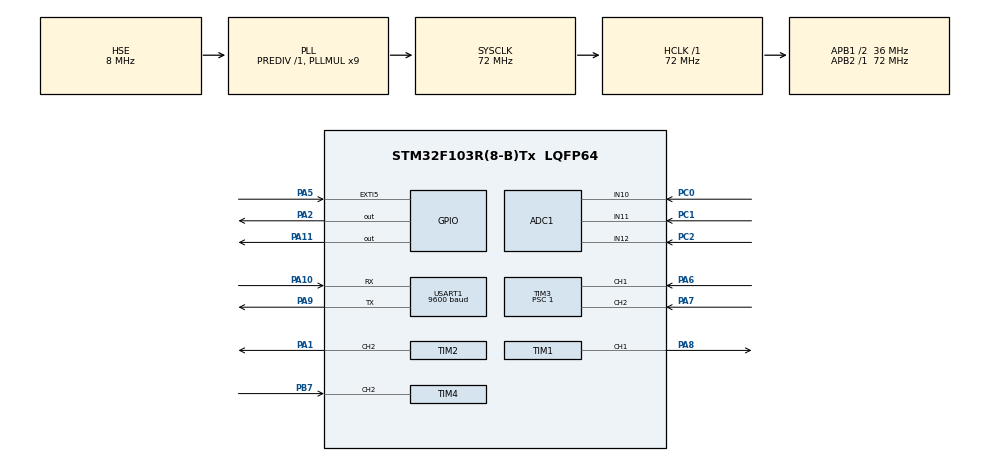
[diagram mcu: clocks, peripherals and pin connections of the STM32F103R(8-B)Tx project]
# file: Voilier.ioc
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ADC1.Channel-0\#ChannelRegularConversion=ADC_CHANNEL_10
ADC1.ContinuousConvMode=DISABLE
ADC1.NbrOfConversion=1
ADC1.NbrOfConversionFlag=1
ADC1.Rank-0\#ChannelRegularConversion=1
ADC1.SamplingTime-0\#ChannelRegularConversion=ADC_SAMPLETIME_28CYCLES_5
ADC1.master=1
Mcu.Family=STM32F1
Mcu.Name=STM32F103R(8-B)Tx
Mcu.Package=LQFP64
NVIC.EXTI9_5_IRQn=true\:0\:0\:false\:false\:true\:true
NVIC.PriorityGroup=NVIC_PRIORITYGROUP_4
NVIC.TIM2_IRQn=true\:0\:0\:false\:false\:true\:true
PA1.Signal=S_TIM2_CH2
PA10.Mode=Asynchronous
PA10.Signal=USART1_RX
PA11.Signal=GPIO_Output
PA13.Mode=JTAG_5_pins
PA13.Signal=SYS_JTMS-SWDIO
PA14.Mode=JTAG_5_pins
PA14.Signal=SYS_JTCK-SWCLK
PA15.Mode=JTAG_5_pins
PA15.Signal=SYS_JTDI
PA2.Signal=GPIO_Output
PA5.Signal=GPXTI5
PA6.GPIO_PuPd=GPIO_PULLUP
PA6.Signal=S_TIM3_CH1
PA7.GPIO_PuPd=GPIO_PULLUP
PA7.Signal=S_TIM3_CH2
PA8.Signal=S_TIM1_CH1
PA9.Mode=Asynchronous
PA9.Signal=USART1_TX
PB3.Mode=JTAG_5_pins
PB3.Signal=SYS_JTDO-TRACESWO
PB4.Mode=JTAG_5_pins
PB4.Signal=SYS_NJTRST
PB6.GPIO_PuPd=GPIO_PULLUP
PB6.Signal=S_TIM4_CH1
PB7.Signal=S_TIM4_CH2
PC0.Signal=ADCx_IN10
PC1.Signal=ADCx_IN11
PC14-OSC32_IN.Mode=LSE-External-Oscillator
PC14-OSC32_IN.Signal=RCC_OSC32_IN
PC15-OSC32_OUT.Mode=LSE-External-Oscillator
PC15-OSC32_OUT.Signal=RCC_OSC32_OUT
PC2.Signal=ADCx_IN12
PD0-OSC_IN.Mode=HSE-External-Oscillator
PD0-OSC_IN.Signal=RCC_OSC_IN
PD1-OSC_OUT.Mode=HSE-External-Oscillator
PD1-OSC_OUT.Signal=RCC_OSC_OUT
ProjectManager.HeapSize=0x200
ProjectManager.StackSize=0x400
ProjectManager.TargetToolchain=MDK-ARM V5
RCC.ADCPresc=RCC_ADCPCLK2_DIV6
RCC.AHBFreq_Value=72000000
RCC.APB1CLKDivider=RCC_HCLK_DIV2
RCC.APB1Freq_Value=36000000
RCC.APB1TimFreq_Value=72000000
RCC.APB2Freq_Value=72000000
RCC.APB2TimFreq_Value=72000000
RCC.HCLKFreq_Value=72000000
RCC.PLLMUL=RCC_PLL_MUL9
RCC.PLLSourceVirtual=RCC_PLLSOURCE_HSE
RCC.SYSCLKFreq_VALUE=72000000
RCC.SYSCLKSource=RCC_SYSCLKSOURCE_PLLCLK
RCC.USBFreq_Value=72000000
SH.ADCx_IN10.0=ADC1_IN10,IN10
SH.ADCx_IN11.0=ADC1_IN11,IN11
SH.ADCx_IN12.0=ADC1_IN12,IN12
SH.S_TIM1_CH1.0=TIM1_CH1,PWM Generation1 CH1
SH.S_TIM2_CH2.0=TIM2_CH2,PWM Generation2 CH2
SH.S_TIM3_CH1.0=TIM3_CH1,Encoder_Interface
SH.S_TIM3_CH2.0=TIM3_CH2,Encoder_Interface
SH.S_TIM4_CH1.0=TIM4_CH1
SH.S_TIM4_CH2.0=TIM4_CH2,PWM_Input_2
TIM1.Channel-PWM\ Generation1\ CH1=TIM_CHANNEL_1
TIM1.Period=57599
TIM1.Prescaler=24
TIM2.Channel-PWM\ Generation2\ CH2=TIM_CHANNEL_2
TIM2.Period=2879
TIM2.Prescaler=24
TIM3.EncoderMode=TIM_ENCODERMODE_TI1
TIM3.IC1Filter=0
TIM3.IC2Filter=0
TIM3.Period=359
TIM3.Prescaler=1
TIM3.TIM_MasterOutputTrigger=TIM_TRGO_RESET
TIM4.Period=65535
TIM4.Prescaler=1
USART1.BaudRate=9600
USART1.VirtualMode=VM_ASYNC
board=Voilier

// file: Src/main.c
/**
  ******************************************************************************
  * @file           : main.c
  * @brief          : Main program body
  ******************************************************************************
  ** This notice applies to any and all portions of this file
  * that are not between comment pairs USER CODE BEGIN and
  * USER CODE END. Other portions of this file, whether
  * inserted by the user or by software development tools
  * are owned by their respective copyright owners.
  *
  * COPYRIGHT(c) 2018 STMicroelectronics
  *
  * Redistribution and use in source and binary forms, with or without modification,
  * are permitted provided that the following conditions are met:
  *   1. Redistributions of source code must retain the above copyright notice,
  *      this list of conditions and the following disclaimer.
  *   2. Redistributions in binary form must reproduce the above copyright notice,
  *      this list of conditions and the following disclaimer in the documentation
  *      and/or other materials provided with the distribution.
  *   3. Neither the name of STMicroelectronics nor the names of its contributors
  *      may be used to endorse or promote products derived from this software
  *      without specific prior written permission.
  *
  * THIS SOFTWARE IS PROVIDED BY THE COPYRIGHT HOLDERS AND CONTRIBUTORS "AS IS"
  * AND ANY EXPRESS OR IMPLIED WARRANTIES, INCLUDING, BUT NOT LIMITED TO, THE
  * IMPLIED WARRANTIES OF MERCHANTABILITY AND FITNESS FOR A PARTICULAR PURPOSE ARE
  * DISCLAIMED. IN NO EVENT SHALL THE COPYRIGHT HOLDER OR CONTRIBUTORS BE LIABLE
  * FOR ANY DIRECT, INDIRECT, INCIDENTAL, SPECIAL, EXEMPLARY, OR CONSEQUENTIAL
  * DAMAGES (INCLUDING, BUT NOT LIMITED TO, PROCUREMENT OF SUBSTITUTE GOODS OR
  * SERVICES; LOSS OF USE, DATA, OR PROFITS; OR BUSINESS INTERRUPTION) HOWEVER
  * CAUSED AND ON ANY THEORY OF LIABILITY, WHETHER IN CONTRACT, STRICT LIABILITY,
  * OR TORT (INCLUDING NEGLIGENCE OR OTHERWISE) ARISING IN ANY WAY OUT OF THE USE
  * OF THIS SOFTWARE, EVEN IF ADVISED OF THE POSSIBILITY OF SUCH DAMAGE.
  *
  ******************************************************************************
  */
#include "main.h"
#include "stm32f1xx_hal.h"

ADC_HandleTypeDef hadc1;

TIM_HandleTypeDef htim1;
TIM_HandleTypeDef htim2;
TIM_HandleTypeDef htim3;
TIM_HandleTypeDef htim4;

UART_HandleTypeDef huart1;

/* USER CODE BEGIN PV */
/* Private variables ---------------------------------------------------------*/
ADC_HandleTypeDef hadc1;

TIM_HandleTypeDef htim1;
TIM_HandleTypeDef htim2;
TIM_HandleTypeDef htim3;
TIM_HandleTypeDef htim4;

UART_HandleTypeDef huart1;
/* USER CODE END PV */

void SystemClock_Config(void);
static void MX_GPIO_Init(void);
static void MX_ADC1_Init(void);
static void MX_TIM1_Init(void);
static void MX_TIM2_Init(void);
static void MX_TIM3_Init(void);
static void MX_TIM4_Init(void);
static void MX_USART1_UART_Init(void);

void HAL_TIM_MspPostInit(TIM_HandleTypeDef* htim);

/* USER CODE BEGIN PFP */
/* Private function prototypes -----------------------------------------------*/
void SystemClock_Config(void);
static void MX_GPIO_Init(void);
static void MX_ADC1_Init(void);
static void MX_TIM1_Init(void);
static void MX_TIM2_Init(void);
static void MX_TIM3_Init(void);
static void MX_TIM4_Init(void);
static void MX_USART1_UART_Init(void);

void HAL_TIM_MspPostInit(TIM_HandleTypeDef* htim);
/* USER CODE END PFP */

/* USER CODE BEGIN 0 */

int neutral_telecommand = 0;

// Fonction d'interruption : GPIO reçoit un front montant, il reset le timer
void HAL_GPIO_EXTI_Callback(uint16_t GPIO_Pin) {
	if(GPIO_Pin == GPIO_PIN_5) {
		htim3.Instance->CNT = 300;
	}
}

// La direction dans laquelle doit tourner le plateau
typedef enum direction_t { Neutral, Clockwise, CounterClockwise } Direction;

// L'allure du bateau par rapport au vent
typedef enum allure_t {
	BonPlein,
	Travers,
	GrandLargue,
	VentArriere,
	VentDebout,
} Allure;

// Prends en entrée :
// * une direction
// * un timer
// * un bloc gpio
// * un pin
// Cette fonction mets ensuite à jour la consigne donnée en moteur en fonction de la direction fournie.
void update_motor_command(Direction dir, TIM_HandleTypeDef pwm, GPIO_TypeDef* gpio, int pin) {
	switch(dir) {
		case Neutral: {
			pwm.Instance->CCR2 = 0;
			break;
		}
		case Clockwise: {
			pwm.Instance->CCR2 = pwm.Instance->ARR;
			HAL_GPIO_WritePin(gpio, pin, GPIO_PIN_RESET);
			break;
		}
		case CounterClockwise: {
			pwm.Instance->CCR2 = pwm.Instance->ARR;
			HAL_GPIO_WritePin(gpio, pin, GPIO_PIN_SET);
			break;
		}
	}
}

// Prends en entrée une allure et configure la position du servomoteur pour border la voile.
void update_sevo_command(Allure al, TIM_HandleTypeDef pwm) {

	int pwm_value = 0x1140;
	switch(al) {
		case VentDebout: {
			pwm_value = 0x1140;
			break;
		}
		case BonPlein: {
			pwm_value = 0x1040;
			break;
		}
		case Travers: {
			pwm_value = 0x0FF0;
			break;
		}
		case GrandLargue: {
			pwm_value = 0x0D80;
			break;
		}
		case VentArriere: {
			pwm_value = 0x0740;
			break;
		}
	}
	pwm.Instance->CCR1 = pwm_value;
}

// Prends en entrée une valeur lu par l'encodeur (entre 0 et 359) et renvoie l'allure du bateau par rapport au vent.
Allure val_encod_to_allure(int val_encod) {
	if((0 <= val_encod && val_encod < 45) || (315 <= val_encod && val_encod < 360)) {
		return VentDebout;
	} else if((45 <= val_encod && val_encod < 60) || (300 <= val_encod && val_encod < 315)) {
		return BonPlein;
	} else if((60 <= val_encod && val_encod < 120) || (240 <= val_encod && val_encod < 300)) {
		return Travers;
	} else if((120 <= val_encod && val_encod < 160) || (200 <= val_encod && val_encod < 240)) {
		return GrandLargue;
	} else {
		return VentArriere;
	}
}

// Prend en entrée un timer configuré en PWM input et revoie la consigne donnée par la télécommande en lisant la PWM.
Direction decode_remote_signal(TIM_HandleTypeDef pwm) {
	int etat = (pwm.Instance->CCR1) & 0xFFFF;
	int threshold = neutral_telecommand / 3;
	if(etat > (neutral_telecommand + threshold)) {
		return Clockwise;
	} else if(etat < (neutral_telecommand - threshold)) {
		return CounterClockwise;
	} else {
		return Neutral;
	}
}
/* USER CODE END 0 */

int main(void) {
	/* USER CODE BEGIN 1 */

	// Définition des variables
	int alarm_accu = 0;
	int alarm_rotation = 0;
	int warning_accu = 0;
	int warning_rotation = 0;
	int accu_limite = 0xccf4;
	int init_accelero0;
	int init_accelero1;
	uint8_t alert_message_accu[40] = "Attention batterie presque vide.\n\r";
	uint8_t alert_message_rotation[40] = "Attention grosses vagues.\n\r";
	/* USER CODE END 1 */

	/* MCU Configuration----------------------------------------------------------*/

	/* Reset of all peripherals, Initializes the Flash interface and the Systick. */
	HAL_Init();

	/* Configure the system clock */
	SystemClock_Config();

	/* Initialize all configured peripherals */
	MX_GPIO_Init();
	MX_ADC1_Init();
	MX_TIM1_Init();
	MX_TIM2_Init();
	MX_TIM3_Init();
	MX_TIM4_Init();
	MX_USART1_UART_Init();
	/* USER CODE BEGIN 2 */

	// Activation des périphériques
	HAL_TIM_IC_Start(&htim4, TIM_CHANNEL_2);
	HAL_TIM_Encoder_Start(&htim3, TIM_CHANNEL_ALL);
	HAL_TIM_PWM_Start(&htim1, TIM_CHANNEL_1);
	htim4.Instance->CCER |= TIM_CCER_CC1E;
	HAL_TIM_PWM_Start(&htim2, TIM_CHANNEL_2);

	// Configuration des channels de l'accel et de la batterie
	ADC_ChannelConfTypeDef ADC_channel_batterie = {ADC_CHANNEL_12, ADC_REGULAR_RANK_1, ADC_SAMPLETIME_1CYCLE_5};
	ADC_ChannelConfTypeDef ADC_channel_accelero0 = {ADC_CHANNEL_10, ADC_REGULAR_RANK_1, ADC_SAMPLETIME_28CYCLES_5};
	ADC_ChannelConfTypeDef ADC_channel_accelero1 = {ADC_CHANNEL_11, ADC_REGULAR_RANK_1, ADC_SAMPLETIME_28CYCLES_5};

	// Prise de reference pour le neutre de l'accelerometre
	HAL_ADC_ConfigChannel(&hadc1, &ADC_channel_accelero0);
	HAL_ADC_Start(&hadc1);
	HAL_ADC_PollForConversion(&hadc1, 10);
	init_accelero0 = HAL_ADC_GetValue(&hadc1);

	HAL_ADC_ConfigChannel(&hadc1, &ADC_channel_accelero1);
	HAL_ADC_Start(&hadc1);
	HAL_ADC_PollForConversion(&hadc1, 10);
	init_accelero1 = HAL_ADC_GetValue(&hadc1);

	// Sauvegarde de la valeur neutre de la télécommande, on attends un petit peu afin que le signal soit bien stable.
	while((htim4.Instance->CCR1) * (htim4.Instance->PSC + 1) < 4000) {
	}
	for(int i = 0; i < 1000000; i++) {
	}
	neutral_telecommand = (htim4.Instance->CCR1) & 0xFFFF;
	/* USER CODE END 2 */

	/* Infinite loop */
	/* USER CODE BEGIN WHILE */
	while(1) {
		// Lecture des entrées

		int batterie, accelero1, accelero0, val_encode;

		// Lecture de la batterie
		HAL_ADC_ConfigChannel(&hadc1, &ADC_channel_batterie);
		HAL_ADC_PollForConversion(&hadc1, 10);
		HAL_ADC_Start(&hadc1);
		batterie = HAL_ADC_GetValue(&hadc1);

		// Mise à jour de l'alerte de la batterie
		// warning_accu permet d'envoyer le message d'alerte qu'une seule fois
		if(batterie <= accu_limite) {
			if(warning_accu == 0) {
				warning_accu = 1;
				alarm_accu = 1;
			}
		} else {
			warning_accu = 0;
		}

		// Lecture de l'acceléromètre
		HAL_ADC_ConfigChannel(&hadc1, &ADC_channel_accelero0);
		HAL_ADC_Start(&hadc1);
		HAL_ADC_PollForConversion(&hadc1, 10);
		accelero0 = HAL_ADC_GetValue(&hadc1);

		HAL_ADC_ConfigChannel(&hadc1, &ADC_channel_accelero1);
		HAL_ADC_Start(&hadc1);
		HAL_ADC_PollForConversion(&hadc1, 10);
		accelero1 = HAL_ADC_GetValue(&hadc1);

		// Mise à jour de l'alarme de gitage.
		if(init_accelero1 - 0x90 > accelero1) {
			if(warning_rotation == 0) {
				warning_rotation = 1;
				alarm_rotation = 1;
			}
		} else {
			warning_rotation = 0;
		}

		// Bordage de la voile
		val_encode = htim3.Instance->CCR1;
		Allure al = val_encod_to_allure(val_encode);
		update_sevo_command(al, htim1);

		// Rotation du plateau
		update_motor_command(decode_remote_signal(htim4), htim2, GPIOA, GPIO_PIN_2);

		/* USER CODE END WHILE */

		/* USER CODE BEGIN 3 */
		// Code de la logique du voilier

		// Envoi du message d'alarme
		if(alarm_rotation) {
			alarm_rotation = 0;
			HAL_GPIO_WritePin(GPIOA, GPIO_PIN_11, GPIO_PIN_SET);
			HAL_UART_Transmit(&huart1, (uint8_t*)&alert_message_rotation, sizeof(alert_message_rotation), (1 << 28) - 1);
			HAL_GPIO_WritePin(GPIOA, GPIO_PIN_11, GPIO_PIN_RESET);
		}

		if(alarm_accu) {
			alarm_accu = 0;
			HAL_GPIO_WritePin(GPIOA, GPIO_PIN_11, GPIO_PIN_SET);
			HAL_UART_Transmit(&huart1, (uint8_t*)&alert_message_accu, sizeof(alert_message_accu), (1 << 28) - 1);
			HAL_GPIO_WritePin(GPIOA, GPIO_PIN_11, GPIO_PIN_RESET);
		}
	}
	/* USER CODE END 3 */
}

void SystemClock_Config(void) {

	RCC_OscInitTypeDef RCC_OscInitStruct;
	RCC_ClkInitTypeDef RCC_ClkInitStruct;
	RCC_PeriphCLKInitTypeDef PeriphClkInit;

	/**Initializes the CPU, AHB and APB busses clocks
	*/
	RCC_OscInitStruct.OscillatorType = RCC_OSCILLATORTYPE_HSE;
	RCC_OscInitStruct.HSEState = RCC_HSE_ON;
	RCC_OscInitStruct.HSEPredivValue = RCC_HSE_PREDIV_DIV1;
	RCC_OscInitStruct.HSIState = RCC_HSI_ON;
	RCC_OscInitStruct.PLL.PLLState = RCC_PLL_ON;
	RCC_OscInitStruct.PLL.PLLSource = RCC_PLLSOURCE_HSE;
	RCC_OscInitStruct.PLL.PLLMUL = RCC_PLL_MUL9;
	if(HAL_RCC_OscConfig(&RCC_OscInitStruct) != HAL_OK) {
		_Error_Handler(__FILE__, __LINE__);
	}

	/**Initializes the CPU, AHB and APB busses clocks
	*/
	RCC_ClkInitStruct.ClockType = RCC_CLOCKTYPE_HCLK | RCC_CLOCKTYPE_SYSCLK | RCC_CLOCKTYPE_PCLK1 | RCC_CLOCKTYPE_PCLK2;
	RCC_ClkInitStruct.SYSCLKSource = RCC_SYSCLKSOURCE_PLLCLK;
	RCC_ClkInitStruct.AHBCLKDivider = RCC_SYSCLK_DIV1;
	RCC_ClkInitStruct.APB1CLKDivider = RCC_HCLK_DIV2;
	RCC_ClkInitStruct.APB2CLKDivider = RCC_HCLK_DIV1;

	if(HAL_RCC_ClockConfig(&RCC_ClkInitStruct, FLASH_LATENCY_2) != HAL_OK) {
		_Error_Handler(__FILE__, __LINE__);
	}

	PeriphClkInit.PeriphClockSelection = RCC_PERIPHCLK_ADC;
	PeriphClkInit.AdcClockSelection = RCC_ADCPCLK2_DIV6;
	if(HAL_RCCEx_PeriphCLKConfig(&PeriphClkInit) != HAL_OK) {
		_Error_Handler(__FILE__, __LINE__);
	}

	/**Configure the Systick interrupt time
	*/
	HAL_SYSTICK_Config(HAL_RCC_GetHCLKFreq() / 1000);

	/**Configure the Systick
	*/
	HAL_SYSTICK_CLKSourceConfig(SYSTICK_CLKSOURCE_HCLK);

	/* SysTick_IRQn interrupt configuration */
	HAL_NVIC_SetPriority(SysTick_IRQn, 0, 0);
}

/* ADC1 init function */
static void MX_ADC1_Init(void) {

	ADC_ChannelConfTypeDef sConfig;

	/**Common config
	*/
	hadc1.Instance = ADC1;
	hadc1.Init.ScanConvMode = ADC_SCAN_DISABLE;
	hadc1.Init.ContinuousConvMode = DISABLE;
	hadc1.Init.DiscontinuousConvMode = DISABLE;
	hadc1.Init.ExternalTrigConv = ADC_SOFTWARE_START;
	hadc1.Init.DataAlign = ADC_DATAALIGN_RIGHT;
	hadc1.Init.NbrOfConversion = 1;
	if(HAL_ADC_Init(&hadc1) != HAL_OK) {
		_Error_Handler(__FILE__, __LINE__);
	}

	/**Configure Regular Channel
	*/
	sConfig.Channel = ADC_CHANNEL_10;
	sConfig.Rank = ADC_REGULAR_RANK_1;
	sConfig.SamplingTime = ADC_SAMPLETIME_28CYCLES_5;
	if(HAL_ADC_ConfigChannel(&hadc1, &sConfig) != HAL_OK) {
		_Error_Handler(__FILE__, __LINE__);
	}
}

/* TIM1 init function */
static void MX_TIM1_Init(void) {

	TIM_MasterConfigTypeDef sMasterConfig;
	TIM_OC_InitTypeDef sConfigOC;
	TIM_BreakDeadTimeConfigTypeDef sBreakDeadTimeConfig;

	htim1.Instance = TIM1;
	htim1.Init.Prescaler = 24;
	htim1.Init.CounterMode = TIM_COUNTERMODE_UP;
	htim1.Init.Period = 57599;
	htim1.Init.ClockDivision = TIM_CLOCKDIVISION_DIV1;
	htim1.Init.RepetitionCounter = 0;
	htim1.Init.AutoReloadPreload = TIM_AUTORELOAD_PRELOAD_DISABLE;
	if(HAL_TIM_PWM_Init(&htim1) != HAL_OK) {
		_Error_Handler(__FILE__, __LINE__);
	}

	sMasterConfig.MasterOutputTrigger = TIM_TRGO_RESET;
	sMasterConfig.MasterSlaveMode = TIM_MASTERSLAVEMODE_DISABLE;
	if(HAL_TIMEx_MasterConfigSynchronization(&htim1, &sMasterConfig) != HAL_OK) {
		_Error_Handler(__FILE__, __LINE__);
	}

	sConfigOC.OCMode = TIM_OCMODE_PWM1;
	sConfigOC.Pulse = 0;
	sConfigOC.OCPolarity = TIM_OCPOLARITY_HIGH;
	sConfigOC.OCNPolarity = TIM_OCNPOLARITY_HIGH;
	sConfigOC.OCFastMode = TIM_OCFAST_DISABLE;
	sConfigOC.OCIdleState = TIM_OCIDLESTATE_RESET;
	sConfigOC.OCNIdleState = TIM_OCNIDLESTATE_RESET;
	if(HAL_TIM_PWM_ConfigChannel(&htim1, &sConfigOC, TIM_CHANNEL_1) != HAL_OK) {
		_Error_Handler(__FILE__, __LINE__);
	}

	sBreakDeadTimeConfig.OffStateRunMode = TIM_OSSR_DISABLE;
	sBreakDeadTimeConfig.OffStateIDLEMode = TIM_OSSI_DISABLE;
	sBreakDeadTimeConfig.LockLevel = TIM_LOCKLEVEL_OFF;
	sBreakDeadTimeConfig.DeadTime = 0;
	sBreakDeadTimeConfig.BreakState = TIM_BREAK_DISABLE;
	sBreakDeadTimeConfig.BreakPolarity = TIM_BREAKPOLARITY_HIGH;
	sBreakDeadTimeConfig.AutomaticOutput = TIM_AUTOMATICOUTPUT_DISABLE;
	if(HAL_TIMEx_ConfigBreakDeadTime(&htim1, &sBreakDeadTimeConfig) != HAL_OK) {
		_Error_Handler(__FILE__, __LINE__);
	}

	HAL_TIM_MspPostInit(&htim1);
}

/* TIM2 init function */
static void MX_TIM2_Init(void) {

	TIM_MasterConfigTypeDef sMasterConfig;
	TIM_OC_InitTypeDef sConfigOC;

	htim2.Instance = TIM2;
	htim2.Init.Prescaler = 24;
	htim2.Init.CounterMode = TIM_COUNTERMODE_UP;
	htim2.Init.Period = 2879;
	htim2.Init.ClockDivision = TIM_CLOCKDIVISION_DIV1;
	htim2.Init.AutoReloadPreload = TIM_AUTORELOAD_PRELOAD_DISABLE;
	if(HAL_TIM_PWM_Init(&htim2) != HAL_OK) {
		_Error_Handler(__FILE__, __LINE__);
	}

	sMasterConfig.MasterOutputTrigger = TIM_TRGO_RESET;
	sMasterConfig.MasterSlaveMode = TIM_MASTERSLAVEMODE_DISABLE;
	if(HAL_TIMEx_MasterConfigSynchronization(&htim2, &sMasterConfig) != HAL_OK) {
		_Error_Handler(__FILE__, __LINE__);
	}

	sConfigOC.OCMode = TIM_OCMODE_PWM1;
	sConfigOC.Pulse = 0;
	sConfigOC.OCPolarity = TIM_OCPOLARITY_HIGH;
	sConfigOC.OCFastMode = TIM_OCFAST_DISABLE;
	if(HAL_TIM_PWM_ConfigChannel(&htim2, &sConfigOC, TIM_CHANNEL_2) != HAL_OK) {
		_Error_Handler(__FILE__, __LINE__);
	}

	HAL_TIM_MspPostInit(&htim2);
}

/* TIM3 init function */
static void MX_TIM3_Init(void) {

	TIM_Encoder_InitTypeDef sConfig;
	TIM_MasterConfigTypeDef sMasterConfig;

	htim3.Instance = TIM3;
	htim3.Init.Prescaler = 1;
	htim3.Init.CounterMode = TIM_COUNTERMODE_UP;
	htim3.Init.Period = 359;
	htim3.Init.ClockDivision = TIM_CLOCKDIVISION_DIV1;
	htim3.Init.AutoReloadPreload = TIM_AUTORELOAD_PRELOAD_DISABLE;
	sConfig.EncoderMode = TIM_ENCODERMODE_TI1;
	sConfig.IC1Polarity = TIM_ICPOLARITY_RISING;
	sConfig.IC1Selection = TIM_ICSELECTION_DIRECTTI;
	sConfig.IC1Prescaler = TIM_ICPSC_DIV1;
	sConfig.IC1Filter = 0;
	sConfig.IC2Polarity = TIM_ICPOLARITY_RISING;
	sConfig.IC2Selection = TIM_ICSELECTION_DIRECTTI;
	sConfig.IC2Prescaler = TIM_ICPSC_DIV1;
	sConfig.IC2Filter = 0;
	if(HAL_TIM_Encoder_Init(&htim3, &sConfig) != HAL_OK) {
		_Error_Handler(__FILE__, __LINE__);
	}

	sMasterConfig.MasterOutputTrigger = TIM_TRGO_RESET;
	sMasterConfig.MasterSlaveMode = TIM_MASTERSLAVEMODE_DISABLE;
	if(HAL_TIMEx_MasterConfigSynchronization(&htim3, &sMasterConfig) != HAL_OK) {
		_Error_Handler(__FILE__, __LINE__);
	}
}

/* TIM4 init function */
static void MX_TIM4_Init(void) {

	TIM_SlaveConfigTypeDef sSlaveConfig;
	TIM_IC_InitTypeDef sConfigIC;
	TIM_MasterConfigTypeDef sMasterConfig;

	htim4.Instance = TIM4;
	htim4.Init.Prescaler = 1;
	htim4.Init.CounterMode = TIM_COUNTERMODE_UP;
	htim4.Init.Period = 65535;
	htim4.Init.ClockDivision = TIM_CLOCKDIVISION_DIV1;
	htim4.Init.AutoReloadPreload = TIM_AUTORELOAD_PRELOAD_DISABLE;
	if(HAL_TIM_IC_Init(&htim4) != HAL_OK) {
		_Error_Handler(__FILE__, __LINE__);
	}

	sSlaveConfig.SlaveMode = TIM_SLAVEMODE_RESET;
	sSlaveConfig.InputTrigger = TIM_TS_TI2FP2;
	sSlaveConfig.TriggerPolarity = TIM_INPUTCHANNELPOLARITY_FALLING;
	sSlaveConfig.TriggerPrescaler = TIM_ICPSC_DIV1;
	sSlaveConfig.TriggerFilter = 0;
	if(HAL_TIM_SlaveConfigSynchronization(&htim4, &sSlaveConfig) != HAL_OK) {
		_Error_Handler(__FILE__, __LINE__);
	}

	sConfigIC.ICPolarity = TIM_INPUTCHANNELPOLARITY_RISING;
	sConfigIC.ICSelection = TIM_ICSELECTION_INDIRECTTI;
	sConfigIC.ICPrescaler = TIM_ICPSC_DIV1;
	sConfigIC.ICFilter = 0;
	if(HAL_TIM_IC_ConfigChannel(&htim4, &sConfigIC, TIM_CHANNEL_1) != HAL_OK) {
		_Error_Handler(__FILE__, __LINE__);
	}

	sConfigIC.ICPolarity = TIM_INPUTCHANNELPOLARITY_FALLING;
	sConfigIC.ICSelection = TIM_ICSELECTION_DIRECTTI;
	if(HAL_TIM_IC_ConfigChannel(&htim4, &sConfigIC, TIM_CHANNEL_2) != HAL_OK) {
		_Error_Handler(__FILE__, __LINE__);
	}

	sMasterConfig.MasterOutputTrigger = TIM_TRGO_RESET;
	sMasterConfig.MasterSlaveMode = TIM_MASTERSLAVEMODE_DISABLE;
	if(HAL_TIMEx_MasterConfigSynchronization(&htim4, &sMasterConfig) != HAL_OK) {
		_Error_Handler(__FILE__, __LINE__);
	}
}

/* USART1 init function */
static void MX_USART1_UART_Init(void) {

	huart1.Instance = USART1;
	huart1.Init.BaudRate = 9600;
	huart1.Init.WordLength = UART_WORDLENGTH_8B;
	huart1.Init.StopBits = UART_STOPBITS_1;
	huart1.Init.Parity = UART_PARITY_NONE;
	huart1.Init.Mode = UART_MODE_TX_RX;
	huart1.Init.HwFlowCtl = UART_HWCONTROL_NONE;
	huart1.Init.OverSampling = UART_OVERSAMPLING_16;
	if(HAL_UART_Init(&huart1) != HAL_OK) {
		_Error_Handler(__FILE__, __LINE__);
	}
}

/** Configure pins as
        * Analog
        * Input
        * Output
        * EVENT_OUT
        * EXTI
*/
static void MX_GPIO_Init(void) {

	GPIO_InitTypeDef GPIO_InitStruct;

	/* GPIO Ports Clock Enable */
	__HAL_RCC_GPIOC_CLK_ENABLE();
	__HAL_RCC_GPIOD_CLK_ENABLE();
	__HAL_RCC_GPIOA_CLK_ENABLE();
	__HAL_RCC_GPIOB_CLK_ENABLE();

	/*Configure GPIO pin Output Level */
	HAL_GPIO_WritePin(GPIOA, GPIO_PIN_2 | GPIO_PIN_11, GPIO_PIN_RESET);

	/*Configure GPIO pins : PA2 PA11 */
	GPIO_InitStruct.Pin = GPIO_PIN_2 | GPIO_PIN_11;
	GPIO_InitStruct.Mode = GPIO_MODE_OUTPUT_PP;
	GPIO_InitStruct.Speed = GPIO_SPEED_FREQ_LOW;
	HAL_GPIO_Init(GPIOA, &GPIO_InitStruct);

	/*Configure GPIO pin : PA5 */
	GPIO_InitStruct.Pin = GPIO_PIN_5;
	GPIO_InitStruct.Mode = GPIO_MODE_IT_RISING;
	GPIO_InitStruct.Pull = GPIO_NOPULL;
	HAL_GPIO_Init(GPIOA, &GPIO_InitStruct);

	/* EXTI interrupt init*/
	HAL_NVIC_SetPriority(EXTI9_5_IRQn, 0, 0);
	HAL_NVIC_EnableIRQ(EXTI9_5_IRQn);
}

void _Error_Handler(char* file, int line) {
	while(1) {
	}
}

/************************ (C) COPYRIGHT STMicroelectronics *****END OF FILE****/
